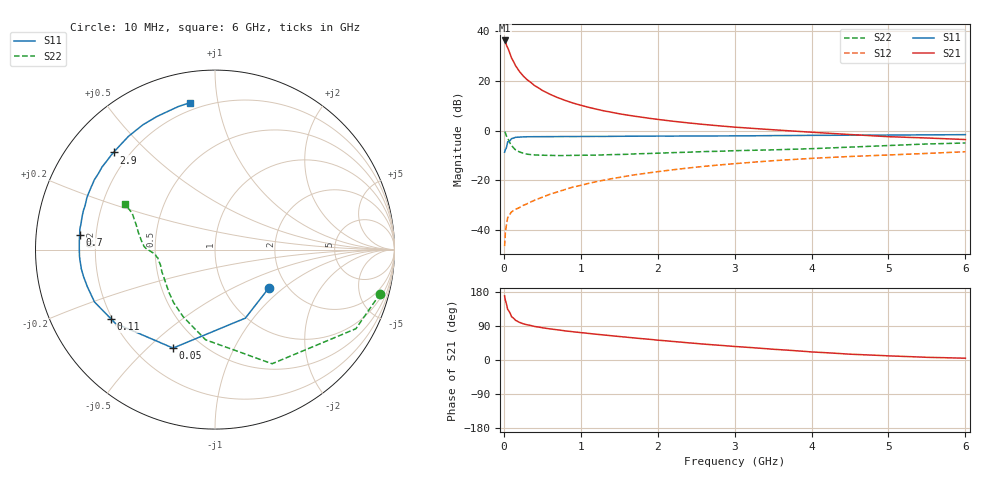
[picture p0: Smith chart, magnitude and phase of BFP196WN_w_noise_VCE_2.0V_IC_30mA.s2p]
! Infineon Technologies  Discrete & RF Semiconductors
! BFP196WN
! VCE =  2.0 V,  IC =  30 mA
! Common Emitter S-Parameters:  Jan 2017
# GHz  S  MA  R  50
!  f  S11  S21  S12  S22
! GHz  MAG  ANG  MAG  ANG  MAG  ANG  MAG  ANG
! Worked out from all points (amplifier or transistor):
!   77 points, 10 MHz to 6 GHz, reference 50 ohm
!   highest |S21| = 36.2 dB at 10 MHz (marker M1)
!   |S21| within 3 dB of that: start of sweep to 50.69 MHz
!   unconditionally stable (mu >= 1): 715.6 MHz to 2.884 GHz
!   at 130 MHz: K = 0.43, MSG = 29.7 dB, |S12| = -32.0 dB
!   at 2.2 GHz: K = 1.03, MAG = 8.7 dB, |S12| = -15.7 dB
!   at 6 GHz: K = 0.93, MSG = 2.4 dB, |S12| = -8.5 dB
!   lowest NFmin = 1.06 dB at 450 MHz
!   S11 on the Smith chart (normalised r, x): 10 MHz: 1.61, -0.80; 50 MHz: 0.35, -0.60; 110 MHz: 0.20, -0.29; 700 MHz: 0.14, +0.05; 2.9 GHz: 0.14, +0.40; 6 GHz: 0.16, +0.83
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0.01  0.3683 -35.7  64.39 169.1  0.0048 81.1  0.9529 -14.9
0.02  0.4176 -66.1  59.67 157.4  0.0089 72.9  0.9004 -29.3
0.05  0.5965 -113.1  45.85 133.3  0.0179 51.4  0.7111 -63.4
0.1  0.6906 -143.5  28.61 114.2  0.0234 42.9  0.5052 -96.0
0.11  0.6959 -146.2  26.91 112.8  0.024 42.5  0.4831 -99.2
0.15  0.732 -156.5  20.34 105.1  0.0263 41.3  0.4142 -115.3
0.2  0.7403 -163.6  15.56 99.6  0.0284 43.9  0.3752 -127.8
0.25  0.7475 -168.3  12.59 95.8  0.0315 46.2  0.3526 -136.0
0.3  0.7526 -171.9  10.57 93.0  0.0339 48.6  0.337 -142.8
0.4  0.756 -177.0  7.996 88.5  0.0401 53.3  0.3249 -151.0
0.5  0.7562 179.4  6.408 85.1  0.046 56.5  0.3209 -156.8
0.6  0.7574 176.4  5.357 82.1  0.0529 58.4  0.3183 -160.9
0.7  0.7584 173.9  4.59 79.6  0.059 61.2  0.3157 -163.9
0.9  0.7602 169.1  3.57 74.5  0.0738 62.6  0.3187 -167.8
1.1  0.7634 165.3  2.938 70.2  0.0872 63.8  0.3212 -170.8
1.5  0.7695 158.2  2.178 62.0  0.115 63.5  0.3317 -174.7
2.1  0.7758 148.4  1.609 50.7  0.1569 60.7  0.3568 -178.2
2.9  0.7825 136.2  1.21 37.3  0.2106 55.2  0.3901 178.2
3.1  0.7848 133.2  1.146 34.4  0.2233 53.4  0.3986 176.6
4.1  0.8036 118.6  0.908 20.2  0.2821 45.1  0.4403 166.7
5.1  0.8154 107.8  0.746 10.2  0.3291 37.6  0.509 156.1
6  0.8301 99.8  0.662 4.7  0.3769 31.6  0.5639 153.1
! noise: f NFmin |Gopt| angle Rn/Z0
0.45  1.06  0.46  178  0.04
0.9  1.19  0.52  184  0.05
1.9  2.13  0.68  211  0.13
2.4  2.86  0.69  218  0.24
